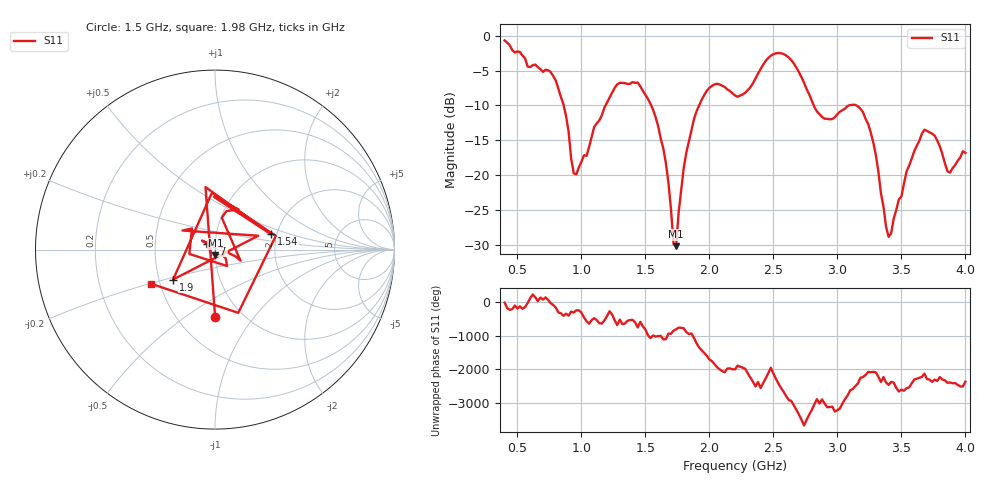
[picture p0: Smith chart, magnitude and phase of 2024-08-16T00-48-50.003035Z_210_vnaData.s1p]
!Created with skrf (http://scikit-rf.org).
# Hz S RI R 50.0
!freq ReS11 ImS11
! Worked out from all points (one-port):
!   181 points, 400 MHz to 4 GHz, reference 50 ohm
!   lowest |S11| = -30.2 dB at 1.74 GHz (marker M1), VSWR 1.06, Z = 50.2 - j3.09 ohm
!   |S11| at or under -10 dB: 861.4 MHz to 1.189 GHz (327.7 MHz wide, 32 % of centre); 1.545 GHz to 1.92 GHz (374.8 MHz wide, 21.6 % of centre); 3.147 GHz to end of sweep (the widest 3 of 4)
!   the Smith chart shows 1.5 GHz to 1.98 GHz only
!   S11 on the Smith chart (normalised r, x): 1.5 GHz: 0.75, -0.66; 1.54 GHz: 1.87, +0.35; 1.7 GHz: 0.91, +0.06; 1.9 GHz: 0.59, -0.22; 1.98 GHz: 0.45, -0.20
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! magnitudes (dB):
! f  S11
! 400 MHz  -0.7
! 760 MHz  -5.2
! 860 MHz  -9.9
! 940 MHz  -19.7
! 960 MHz  -19.9
! 1.3 GHz  -6.8
! 1.5 GHz  -8.5
! 1.54 GHz  -9.8
! 1.64 GHz  -16.2
! 1.7 GHz  -24.9
! 1.72 GHz  -29.9
! 1.74 GHz  -30.2
! 1.76 GHz  -25.3
! 1.82 GHz  -16.8
! 1.9 GHz  -10.8
! 1.98 GHz  -7.9
! 2.2 GHz  -8.6
! 2.5 GHz  -2.7
! 2.66 GHz  -4.0
! 2.88 GHz  -11.6
! 3.1 GHz  -10.0
! 3.26 GHz  -13.9
! 3.4 GHz  -28.9
! 3.56 GHz  -18.7
! 3.68 GHz  -13.5
! 3.76 GHz  -14.4
! 3.86 GHz  -19.5
! 4 GHz  -16.8
